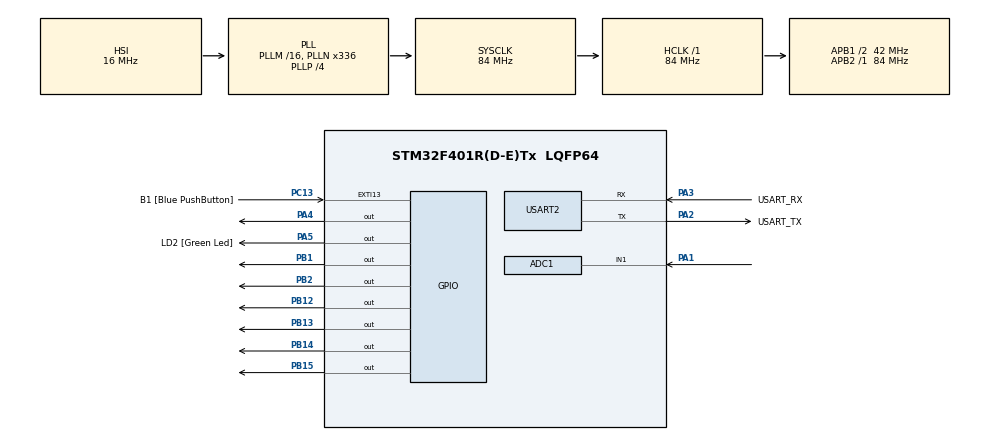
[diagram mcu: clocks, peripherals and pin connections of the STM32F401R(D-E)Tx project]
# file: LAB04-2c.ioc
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ADC1.Channel-0\#ChannelRegularConversion=ADC_CHANNEL_1
ADC1.ExternalTrigConv=ADC_EXTERNALTRIGCONV_T2_TRGO
ADC1.NbrOfConversionFlag=1
ADC1.Rank-0\#ChannelRegularConversion=1
ADC1.SamplingTime-0\#ChannelRegularConversion=ADC_SAMPLETIME_480CYCLES
ADC1.master=1
Mcu.Family=STM32F4
Mcu.Name=STM32F401R(D-E)Tx
Mcu.Package=LQFP64
NVIC.ADC_IRQn=true\:0\:0\:false\:false\:true\:true\:true\:true
NVIC.PriorityGroup=NVIC_PRIORITYGROUP_4
PA1.Signal=ADCx_IN1
PA13.GPIO_Label=TMS
PA13.Mode=Trace_Asynchronous_SW
PA13.Signal=SYS_JTMS-SWDIO
PA14.GPIO_Label=TCK
PA14.Mode=Trace_Asynchronous_SW
PA14.Signal=SYS_JTCK-SWCLK
PA2.GPIO_Label=USART_TX
PA2.GPIO_Mode=GPIO_MODE_AF_PP
PA2.GPIO_PuPd=GPIO_NOPULL
PA2.GPIO_Speed=GPIO_SPEED_FREQ_LOW
PA2.Mode=Asynchronous
PA2.Signal=USART2_TX
PA3.GPIO_Label=USART_RX
PA3.GPIO_Mode=GPIO_MODE_AF_PP
PA3.GPIO_PuPd=GPIO_NOPULL
PA3.GPIO_Speed=GPIO_SPEED_FREQ_LOW
PA3.Mode=Asynchronous
PA3.Signal=USART2_RX
PA4.Signal=GPIO_Output
PA5.GPIO_Label=LD2 [Green Led]
PA5.GPIO_Mode=GPIO_MODE_OUTPUT_PP
PA5.GPIO_PuPd=GPIO_NOPULL
PA5.GPIO_Speed=GPIO_SPEED_FREQ_LOW
PA5.Signal=GPIO_Output
PB1.Signal=GPIO_Output
PB12.Signal=GPIO_Output
PB13.Signal=GPIO_Output
PB14.Signal=GPIO_Output
PB15.Signal=GPIO_Output
PB2.Signal=GPIO_Output
PB3.GPIO_Label=SWO
PB3.Mode=Trace_Asynchronous_SW
PB3.Signal=SYS_JTDO-SWO
PC13-ANTI_TAMP.GPIO_Label=B1 [Blue PushButton]
PC13-ANTI_TAMP.GPIO_ModeDefaultEXTI=GPIO_MODE_IT_FALLING
PC13-ANTI_TAMP.GPIO_PuPd=GPIO_NOPULL
PC13-ANTI_TAMP.Signal=GPXTI13
PC14-OSC32_IN.Mode=LSE-External-Oscillator
PC14-OSC32_IN.Signal=RCC_OSC32_IN
PC15-OSC32_OUT.Mode=LSE-External-Oscillator
PC15-OSC32_OUT.Signal=RCC_OSC32_OUT
PH0\ -\ OSC_IN.Mode=HSE-External-Clock-Source
PH0\ -\ OSC_IN.Signal=RCC_OSC_IN
PH1\ -\ OSC_OUT.Mode=HSE-External-Clock-Source
PH1\ -\ OSC_OUT.Signal=RCC_OSC_OUT
ProjectManager.HeapSize=0x200
ProjectManager.StackSize=0x400
ProjectManager.TargetToolchain=STM32CubeIDE
RCC.48MHZClocksFreq_Value=48000000
RCC.AHBFreq_Value=84000000
RCC.APB1CLKDivider=RCC_HCLK_DIV2
RCC.APB1Freq_Value=42000000
RCC.APB1TimFreq_Value=84000000
RCC.APB2Freq_Value=84000000
RCC.APB2TimFreq_Value=84000000
RCC.CortexFreq_Value=84000000
RCC.HCLKFreq_Value=84000000
RCC.HSE_VALUE=8000000
RCC.HSI_VALUE=16000000
RCC.PLLN=336
RCC.PLLP=RCC_PLLP_DIV4
RCC.PLLQ=7
RCC.SYSCLKFreq_VALUE=84000000
RCC.SYSCLKSource=RCC_SYSCLKSOURCE_PLLCLK
RCC.VCOOutputFreq_Value=336000000
SH.ADCx_IN1.0=ADC1_IN1,IN1
TIM2.Period=9999
TIM2.Prescaler=8399
TIM2.TIM_MasterOutputTrigger=TIM_TRGO_UPDATE
USART2.VirtualMode=VM_ASYNC
VP_TIM2_VS_ClockSourceINT.Mode=Internal
board=NUCLEO-F401RE

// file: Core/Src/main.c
/* USER CODE BEGIN Header */
/**
  ******************************************************************************
  * @file           : main.c
  * @brief          : Main program body
  ******************************************************************************
  * @attention
  *
  * Copyright (c) 2026 STMicroelectronics.
  * All rights reserved.
  *
  * This software is licensed under terms that can be found in the LICENSE file
  * in the root directory of this software component.
  * If no LICENSE file comes with this software, it is provided AS-IS.
  *
  ******************************************************************************
  */
/* USER CODE END Header */
#include "main.h"

/* USER CODE BEGIN Includes */

#include <stdio.h>
#include "PMDB16_LCD.h"

/* USER CODE END Includes */

ADC_HandleTypeDef hadc1;

TIM_HandleTypeDef htim2;

UART_HandleTypeDef huart2;

/* USER CODE BEGIN PV */

// ADC raw value and voltage conversion
uint32_t raw_value = 0;
float voltage = 0;

// LCD row buffer and bar graph status
char top_row[17];
int bar_status;

/* USER CODE END PV */

void SystemClock_Config(void);
static void MX_GPIO_Init(void);
static void MX_USART2_UART_Init(void);
static void MX_ADC1_Init(void);
static void MX_TIM2_Init(void);

int main(void)
{

  /* MCU Configuration--------------------------------------------------------*/

  /* Reset of all peripherals, Initializes the Flash interface and the Systick. */
  HAL_Init();

  /* Configure the system clock */
  SystemClock_Config();

  /* Initialize all configured peripherals */
  MX_GPIO_Init();
  MX_USART2_UART_Init();
  MX_ADC1_Init();
  MX_TIM2_Init();
  /* USER CODE BEGIN 2 */

  // Initialize the LCD
  lcd_initialize();

  // Start the Timer
  HAL_TIM_Base_Start(&htim2);

  // Start the ADC in interrupt mode
  HAL_ADC_Start_IT(&hadc1);

  /* USER CODE END 2 */

  /* Infinite loop */
  while (1)
  {

  }
}

void SystemClock_Config(void)
{
  RCC_OscInitTypeDef RCC_OscInitStruct = {0};
  RCC_ClkInitTypeDef RCC_ClkInitStruct = {0};

  /** Configure the main internal regulator output voltage
  */
  __HAL_RCC_PWR_CLK_ENABLE();
  __HAL_PWR_VOLTAGESCALING_CONFIG(PWR_REGULATOR_VOLTAGE_SCALE2);

  /** Initializes the RCC Oscillators according to the specified parameters
  * in the RCC_OscInitTypeDef structure.
  */
  RCC_OscInitStruct.OscillatorType = RCC_OSCILLATORTYPE_HSI;
  RCC_OscInitStruct.HSIState = RCC_HSI_ON;
  RCC_OscInitStruct.HSICalibrationValue = RCC_HSICALIBRATION_DEFAULT;
  RCC_OscInitStruct.PLL.PLLState = RCC_PLL_ON;
  RCC_OscInitStruct.PLL.PLLSource = RCC_PLLSOURCE_HSI;
  RCC_OscInitStruct.PLL.PLLM = 16;
  RCC_OscInitStruct.PLL.PLLN = 336;
  RCC_OscInitStruct.PLL.PLLP = RCC_PLLP_DIV4;
  RCC_OscInitStruct.PLL.PLLQ = 7;
  if (HAL_RCC_OscConfig(&RCC_OscInitStruct) != HAL_OK)
  {
    Error_Handler();
  }

  /** Initializes the CPU, AHB and APB buses clocks
  */
  RCC_ClkInitStruct.ClockType = RCC_CLOCKTYPE_HCLK|RCC_CLOCKTYPE_SYSCLK
                              |RCC_CLOCKTYPE_PCLK1|RCC_CLOCKTYPE_PCLK2;
  RCC_ClkInitStruct.SYSCLKSource = RCC_SYSCLKSOURCE_PLLCLK;
  RCC_ClkInitStruct.AHBCLKDivider = RCC_SYSCLK_DIV1;
  RCC_ClkInitStruct.APB1CLKDivider = RCC_HCLK_DIV2;
  RCC_ClkInitStruct.APB2CLKDivider = RCC_HCLK_DIV1;

  if (HAL_RCC_ClockConfig(&RCC_ClkInitStruct, FLASH_LATENCY_2) != HAL_OK)
  {
    Error_Handler();
  }
}

static void MX_ADC1_Init(void)
{

  ADC_ChannelConfTypeDef sConfig = {0};

  /** Configure the global features of the ADC (Clock, Resolution, Data Alignment and number of conversion)
  */
  hadc1.Instance = ADC1;
  hadc1.Init.ClockPrescaler = ADC_CLOCK_SYNC_PCLK_DIV4;
  hadc1.Init.Resolution = ADC_RESOLUTION_12B;
  hadc1.Init.ScanConvMode = DISABLE;
  hadc1.Init.ContinuousConvMode = DISABLE;
  hadc1.Init.DiscontinuousConvMode = DISABLE;
  hadc1.Init.ExternalTrigConvEdge = ADC_EXTERNALTRIGCONVEDGE_RISING;
  hadc1.Init.ExternalTrigConv = ADC_EXTERNALTRIGCONV_T2_TRGO;
  hadc1.Init.DataAlign = ADC_DATAALIGN_RIGHT;
  hadc1.Init.NbrOfConversion = 1;
  hadc1.Init.DMAContinuousRequests = DISABLE;
  hadc1.Init.EOCSelection = ADC_EOC_SINGLE_CONV;
  if (HAL_ADC_Init(&hadc1) != HAL_OK)
  {
    Error_Handler();
  }

  /** Configure for the selected ADC regular channel its corresponding rank in the sequencer and its sample time.
  */
  sConfig.Channel = ADC_CHANNEL_1;
  sConfig.Rank = 1;
  sConfig.SamplingTime = ADC_SAMPLETIME_480CYCLES;
  if (HAL_ADC_ConfigChannel(&hadc1, &sConfig) != HAL_OK)
  {
    Error_Handler();
  }

}

static void MX_TIM2_Init(void)
{

  TIM_ClockConfigTypeDef sClockSourceConfig = {0};
  TIM_MasterConfigTypeDef sMasterConfig = {0};

  htim2.Instance = TIM2;
  htim2.Init.Prescaler = 8399;
  htim2.Init.CounterMode = TIM_COUNTERMODE_UP;
  htim2.Init.Period = 9999;
  htim2.Init.ClockDivision = TIM_CLOCKDIVISION_DIV1;
  htim2.Init.AutoReloadPreload = TIM_AUTORELOAD_PRELOAD_DISABLE;
  if (HAL_TIM_Base_Init(&htim2) != HAL_OK)
  {
    Error_Handler();
  }
  sClockSourceConfig.ClockSource = TIM_CLOCKSOURCE_INTERNAL;
  if (HAL_TIM_ConfigClockSource(&htim2, &sClockSourceConfig) != HAL_OK)
  {
    Error_Handler();
  }
  sMasterConfig.MasterOutputTrigger = TIM_TRGO_UPDATE;
  sMasterConfig.MasterSlaveMode = TIM_MASTERSLAVEMODE_DISABLE;
  if (HAL_TIMEx_MasterConfigSynchronization(&htim2, &sMasterConfig) != HAL_OK)
  {
    Error_Handler();
  }

}

static void MX_USART2_UART_Init(void)
{

  huart2.Instance = USART2;
  huart2.Init.BaudRate = 115200;
  huart2.Init.WordLength = UART_WORDLENGTH_8B;
  huart2.Init.StopBits = UART_STOPBITS_1;
  huart2.Init.Parity = UART_PARITY_NONE;
  huart2.Init.Mode = UART_MODE_TX_RX;
  huart2.Init.HwFlowCtl = UART_HWCONTROL_NONE;
  huart2.Init.OverSampling = UART_OVERSAMPLING_16;
  if (HAL_UART_Init(&huart2) != HAL_OK)
  {
    Error_Handler();
  }

}

static void MX_GPIO_Init(void)
{
  GPIO_InitTypeDef GPIO_InitStruct = {0};

  /* GPIO Ports Clock Enable */
  __HAL_RCC_GPIOC_CLK_ENABLE();
  __HAL_RCC_GPIOH_CLK_ENABLE();
  __HAL_RCC_GPIOA_CLK_ENABLE();
  __HAL_RCC_GPIOB_CLK_ENABLE();

  /*Configure GPIO pin Output Level */
  HAL_GPIO_WritePin(GPIOA, GPIO_PIN_4|LD2_Pin, GPIO_PIN_RESET);

  /*Configure GPIO pin Output Level */
  HAL_GPIO_WritePin(GPIOB, GPIO_PIN_1|GPIO_PIN_2|GPIO_PIN_12|GPIO_PIN_13
                          |GPIO_PIN_14|GPIO_PIN_15, GPIO_PIN_RESET);

  /*Configure GPIO pin : B1_Pin */
  GPIO_InitStruct.Pin = B1_Pin;
  GPIO_InitStruct.Mode = GPIO_MODE_IT_FALLING;
  GPIO_InitStruct.Pull = GPIO_NOPULL;
  HAL_GPIO_Init(B1_GPIO_Port, &GPIO_InitStruct);

  /*Configure GPIO pins : PA4 LD2_Pin */
  GPIO_InitStruct.Pin = GPIO_PIN_4|LD2_Pin;
  GPIO_InitStruct.Mode = GPIO_MODE_OUTPUT_PP;
  GPIO_InitStruct.Pull = GPIO_NOPULL;
  GPIO_InitStruct.Speed = GPIO_SPEED_FREQ_LOW;
  HAL_GPIO_Init(GPIOA, &GPIO_InitStruct);

  /*Configure GPIO pins : PB1 PB2 PB12 PB13
                           PB14 PB15 */
  GPIO_InitStruct.Pin = GPIO_PIN_1|GPIO_PIN_2|GPIO_PIN_12|GPIO_PIN_13
                          |GPIO_PIN_14|GPIO_PIN_15;
  GPIO_InitStruct.Mode = GPIO_MODE_OUTPUT_PP;
  GPIO_InitStruct.Pull = GPIO_NOPULL;
  GPIO_InitStruct.Speed = GPIO_SPEED_FREQ_LOW;
  HAL_GPIO_Init(GPIOB, &GPIO_InitStruct);

}

/* USER CODE BEGIN 4 */

// This callback is automatically called when the ADC finishes a conversion
void HAL_ADC_ConvCpltCallback(ADC_HandleTypeDef* hadc)
{
  // Check if the interrupt was triggered by ADC1
  if (hadc->Instance == ADC1)
  {
    // Read the digital value (no need to poll, we know it's ready!)
    raw_value = HAL_ADC_GetValue(&hadc1);

    // Convert to voltage
    voltage = (raw_value / 4095.0) * 3.3;

    // Format LCD top row
    snprintf(top_row, sizeof(top_row), "Voltage: %.3f V", voltage);
    lcd_println(top_row, 0);

    // Compute bar graph
    bar_status = (raw_value * 80) / 4095;
    lcd_drawBar(bar_status);
  }
}

/* USER CODE END 4 */

void Error_Handler(void)
{
  __disable_irq();
  while (1)
  {
  }
}
